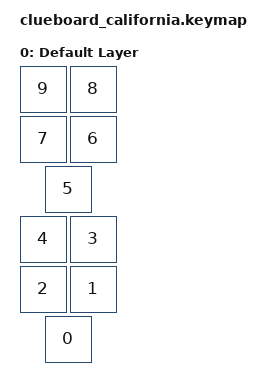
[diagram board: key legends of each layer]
/*
 * Copyright (c) 2020 The ZMK Contributors
 *
 * SPDX-License-Identifier: MIT
 */

#include <behaviors.dtsi>
#include <dt-bindings/zmk/keys.h>

/ {
    keymap0: keymap {
        compatible = "zmk,keymap";

        default_layer {
            display-name = "Default Layer";
            bindings = <
                &kp N9 &kp N8
                &kp N7 &kp N6
                       &kp N5
                        &kp N4 &kp N3
                              &kp N2 &kp N1
                                        &kp N0
                >;
        };
    };
};
